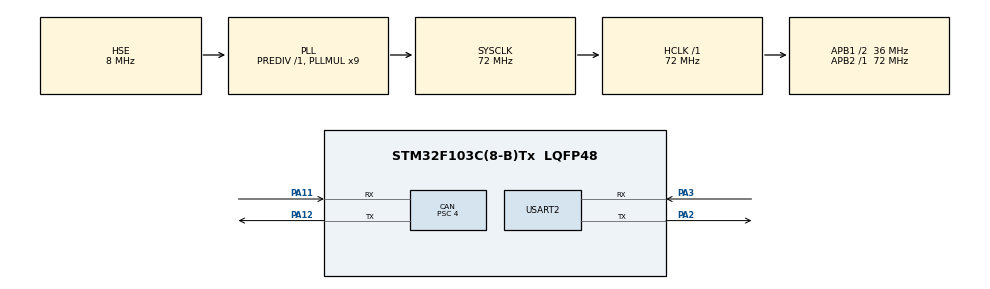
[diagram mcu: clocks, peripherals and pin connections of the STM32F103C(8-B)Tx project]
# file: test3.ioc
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CAN.BS1=CAN_BS1_4TQ
CAN.BS2=CAN_BS2_4TQ
CAN.CalculateBaudRate=1000000
CAN.CalculateTimeBit=1000
CAN.CalculateTimeQuantum=111.11111111111111
CAN.Prescaler=4
Dma.Request0=USART2_RX
Dma.Request1=USART2_TX
Dma.USART2_RX.0.Direction=DMA_PERIPH_TO_MEMORY
Dma.USART2_RX.0.Instance=DMA1_Channel6
Dma.USART2_RX.0.MemDataAlignment=DMA_MDATAALIGN_BYTE
Dma.USART2_RX.0.MemInc=DMA_MINC_ENABLE
Dma.USART2_RX.0.Mode=DMA_NORMAL
Dma.USART2_RX.0.PeriphDataAlignment=DMA_PDATAALIGN_BYTE
Dma.USART2_RX.0.PeriphInc=DMA_PINC_DISABLE
Dma.USART2_RX.0.Priority=DMA_PRIORITY_LOW
Dma.USART2_TX.1.Direction=DMA_MEMORY_TO_PERIPH
Dma.USART2_TX.1.Instance=DMA1_Channel7
Dma.USART2_TX.1.MemDataAlignment=DMA_MDATAALIGN_BYTE
Dma.USART2_TX.1.MemInc=DMA_MINC_ENABLE
Dma.USART2_TX.1.Mode=DMA_NORMAL
Dma.USART2_TX.1.PeriphDataAlignment=DMA_PDATAALIGN_BYTE
Dma.USART2_TX.1.PeriphInc=DMA_PINC_DISABLE
Dma.USART2_TX.1.Priority=DMA_PRIORITY_LOW
FREERTOS.Tasks01=defaultTask,24,128,StartDefaultTask,Default,NULL,Dynamic,NULL,NULL
Mcu.Family=STM32F1
Mcu.Name=STM32F103C(8-B)Tx
Mcu.Package=LQFP48
NVIC.CAN1_RX1_IRQn=true\:5\:0\:false\:false\:true\:true\:true\:true\:true
NVIC.DMA1_Channel6_IRQn=true\:5\:0\:false\:false\:true\:true\:false\:true\:true
NVIC.DMA1_Channel7_IRQn=true\:5\:0\:false\:false\:true\:true\:false\:true\:true
NVIC.PriorityGroup=NVIC_PRIORITYGROUP_4
NVIC.TIM4_IRQn=true\:15\:0\:false\:false\:true\:false\:false\:true\:true
NVIC.TimeBase=TIM4_IRQn
NVIC.TimeBaseIP=TIM4
NVIC.USART2_IRQn=true\:5\:0\:false\:false\:true\:true\:false\:true\:true
NVIC.USB_HP_CAN1_TX_IRQn=true\:5\:0\:false\:false\:true\:true\:true\:true\:true
NVIC.USB_LP_CAN1_RX0_IRQn=true\:5\:0\:false\:false\:true\:true\:true\:true\:true
PA11.Mode=CAN_Activate
PA11.Signal=CAN_RX
PA12.Mode=CAN_Activate
PA12.Signal=CAN_TX
PA13.Mode=Serial_Wire
PA13.Signal=SYS_JTMS-SWDIO
PA14.Mode=Serial_Wire
PA14.Signal=SYS_JTCK-SWCLK
PA2.Mode=Asynchronous
PA2.Signal=USART2_TX
PA3.Mode=Asynchronous
PA3.Signal=USART2_RX
PD0-OSC_IN.Mode=HSE-External-Oscillator
PD0-OSC_IN.Signal=RCC_OSC_IN
PD1-OSC_OUT.Mode=HSE-External-Oscillator
PD1-OSC_OUT.Signal=RCC_OSC_OUT
ProjectManager.HeapSize=0x200
ProjectManager.StackSize=0x400
ProjectManager.TargetToolchain=MDK-ARM V5.32
RCC.AHBFreq_Value=72000000
RCC.APB1CLKDivider=RCC_HCLK_DIV2
RCC.APB1Freq_Value=36000000
RCC.APB1TimFreq_Value=72000000
RCC.APB2Freq_Value=72000000
RCC.APB2TimFreq_Value=72000000
RCC.HCLKFreq_Value=72000000
RCC.PLLMUL=RCC_PLL_MUL9
RCC.PLLSourceVirtual=RCC_PLLSOURCE_HSE
RCC.SYSCLKFreq_VALUE=72000000
RCC.SYSCLKSource=RCC_SYSCLKSOURCE_PLLCLK
RCC.USBFreq_Value=72000000
USART2.VirtualMode=VM_ASYNC
VP_FREERTOS_VS_CMSIS_V2.Mode=CMSIS_V2
VP_SYS_VS_tim4.Mode=TIM4
board=custom

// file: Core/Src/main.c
/* USER CODE BEGIN Header */
/**
  ******************************************************************************
  * @file           : main.c
  * @brief          : Main program body
  ******************************************************************************
  * @attention
  *
  * Copyright (c) 2025 STMicroelectronics.
  * All rights reserved.
  *
  * This software is licensed under terms that can be found in the LICENSE file
  * in the root directory of this software component.
  * If no LICENSE file comes with this software, it is provided AS-IS.
  *
  ******************************************************************************
  */
/* USER CODE END Header */
#include "main.h"
#include "cmsis_os.h"
#include "can.h"
#include "dma.h"
#include "usart.h"
#include "gpio.h"

void SystemClock_Config(void);
void MX_FREERTOS_Init(void);

int main(void)
{

  /* MCU Configuration--------------------------------------------------------*/

  /* Reset of all peripherals, Initializes the Flash interface and the Systick. */
  HAL_Init();

  /* Configure the system clock */
  SystemClock_Config();

  /* Initialize all configured peripherals */
  MX_GPIO_Init();
  MX_DMA_Init();
  MX_USART2_UART_Init();
  MX_CAN_Init();

  /* Init scheduler */
  osKernelInitialize();  /* Call init function for freertos objects (in cmsis_os2.c) */
  MX_FREERTOS_Init();

  /* Start scheduler */
  osKernelStart();

  /* We should never get here as control is now taken by the scheduler */

  /* Infinite loop */
  while (1)
  {

  }
}

void SystemClock_Config(void)
{
  RCC_OscInitTypeDef RCC_OscInitStruct = {0};
  RCC_ClkInitTypeDef RCC_ClkInitStruct = {0};

  /** Initializes the RCC Oscillators according to the specified parameters
  * in the RCC_OscInitTypeDef structure.
  */
  RCC_OscInitStruct.OscillatorType = RCC_OSCILLATORTYPE_HSE;
  RCC_OscInitStruct.HSEState = RCC_HSE_ON;
  RCC_OscInitStruct.HSEPredivValue = RCC_HSE_PREDIV_DIV1;
  RCC_OscInitStruct.HSIState = RCC_HSI_ON;
  RCC_OscInitStruct.PLL.PLLState = RCC_PLL_ON;
  RCC_OscInitStruct.PLL.PLLSource = RCC_PLLSOURCE_HSE;
  RCC_OscInitStruct.PLL.PLLMUL = RCC_PLL_MUL9;
  if (HAL_RCC_OscConfig(&RCC_OscInitStruct) != HAL_OK)
  {
    Error_Handler();
  }

  /** Initializes the CPU, AHB and APB buses clocks
  */
  RCC_ClkInitStruct.ClockType = RCC_CLOCKTYPE_HCLK|RCC_CLOCKTYPE_SYSCLK
                              |RCC_CLOCKTYPE_PCLK1|RCC_CLOCKTYPE_PCLK2;
  RCC_ClkInitStruct.SYSCLKSource = RCC_SYSCLKSOURCE_PLLCLK;
  RCC_ClkInitStruct.AHBCLKDivider = RCC_SYSCLK_DIV1;
  RCC_ClkInitStruct.APB1CLKDivider = RCC_HCLK_DIV2;
  RCC_ClkInitStruct.APB2CLKDivider = RCC_HCLK_DIV1;

  if (HAL_RCC_ClockConfig(&RCC_ClkInitStruct, FLASH_LATENCY_2) != HAL_OK)
  {
    Error_Handler();
  }
}

void HAL_TIM_PeriodElapsedCallback(TIM_HandleTypeDef *htim)
{
  if (htim->Instance == TIM4)
  {
    HAL_IncTick();
  }
}

void Error_Handler(void)
{
  __disable_irq();
  while (1)
  {
  }
}

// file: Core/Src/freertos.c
/* USER CODE BEGIN Header */
/**
  ******************************************************************************
  * File Name          : freertos.c
  * Description        : Code for freertos applications
  ******************************************************************************
  * @attention
  *
  * Copyright (c) 2025 STMicroelectronics.
  * All rights reserved.
  *
  * This software is licensed under terms that can be found in the LICENSE file
  * in the root directory of this software component.
  * If no LICENSE file comes with this software, it is provided AS-IS.
  *
  ******************************************************************************
  */
/* USER CODE END Header */

#include "FreeRTOS.h"
#include "task.h"
#include "main.h"
#include "cmsis_os.h"

/* USER CODE BEGIN Includes */
#include "usart.h"
#include "can.h"
#include <string.h>
/* USER CODE END Includes */

/* USER CODE BEGIN Variables */
int dmaRxState = 1;
int dmaTxState = 1;
uint8_t rx_buf[8];
char tx_buf[128];
/* USER CODE END Variables */
/* Definitions for defaultTask */
osThreadId_t defaultTaskHandle;
const osThreadAttr_t defaultTask_attributes = {
  .name = "defaultTask",
  .stack_size = 128 * 4,
  .priority = (osPriority_t) osPriorityNormal,
};

/* USER CODE BEGIN FunctionPrototypes */
void TransTask(void *parames);
/* USER CODE END FunctionPrototypes */

void StartDefaultTask(void *argument);

void MX_FREERTOS_Init(void); /* (MISRA C 2004 rule 8.1) */

void MX_FREERTOS_Init(void) {

  /* Create the thread(s) */
  /* creation of defaultTask */
  defaultTaskHandle = osThreadNew(StartDefaultTask, NULL, &defaultTask_attributes);

  /* USER CODE BEGIN RTOS_THREADS */
  /* add threads, ... */
	xTaskCreate(TransTask,"TransTask",128,NULL,osPriorityNormal,NULL);
  /* USER CODE END RTOS_THREADS */

}

void StartDefaultTask(void *argument)
{
  for(;;)
  {
    osDelay(1);
  }
}

/* USER CODE BEGIN Application */
void HAL_UART_RxCpltCallback(UART_HandleTypeDef *huart){
	if(huart == &huart2){
		dmaRxState = 1;
	}
}
void HAL_UART_TxCpltCallback(UART_HandleTypeDef *huart){
	if(huart == &huart2){
		dmaTxState = 1;
	}
}
void TransTask(void *parames){
	int angle = 0;
	int speed = 0;
	int current = 0;
	int temp = 0;
	HAL_UART_Receive_DMA(&huart2,rx_buf,sizeof(rx_buf));
	for(;;){
		if(HAL_UART_Receive_DMA(&huart2,rx_buf,sizeof(rx_buf)) == HAL_OK && dmaRxState == 1){
			angle += (rx_buf[0] << 8) | rx_buf[1];
			speed += (rx_buf[2] << 8) | rx_buf[3];
			current += (rx_buf[4] << 8) | rx_buf[5];
			temp = rx_buf[6];
			snprintf(tx_buf,sizeof(tx_buf),
					"Angle=%d\nSpeed=%d\nCurrent=%d\nTemp=%d\n",
					angle,speed,current,temp);
			if(dmaTxState == 1){
				HAL_UART_Transmit_DMA(&huart2,(uint8_t*)tx_buf,strlen(tx_buf));
			}
		}
		vTaskDelay(50);
	}
}
/* USER CODE END Application */
